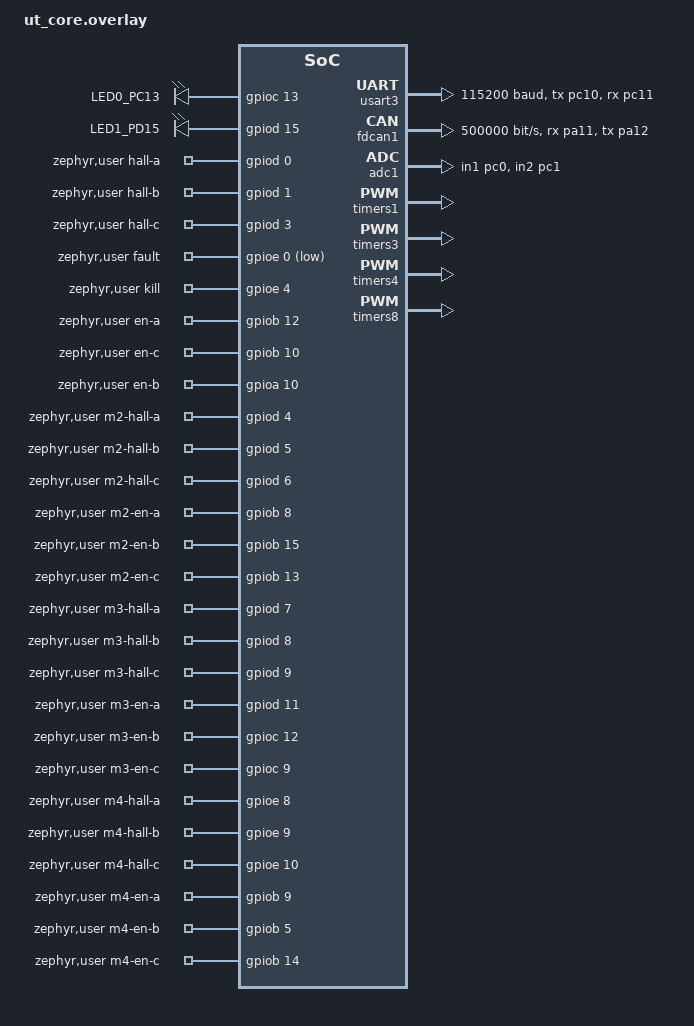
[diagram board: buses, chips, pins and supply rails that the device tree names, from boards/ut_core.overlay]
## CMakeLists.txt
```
cmake_minimum_required(VERSION 3.20.0)
find_package(Zephyr REQUIRED HINTS $ENV{ZEPHYR_BASE})
project(bldc_hall_l6234)

target_sources(app PRIVATE
    src/main.c
    src/motor_can.c
)

target_include_directories(app PRIVATE
    ${CMAKE_CURRENT_SOURCE_DIR}/../../common
)
```

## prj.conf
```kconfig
CONFIG_GPIO=y
CONFIG_PWM=y
CONFIG_CAN=y
CONFIG_CAN_STM32_FDCAN=y
CONFIG_CAN_FD_MODE=n

CONFIG_CONSOLE=y
CONFIG_SERIAL=y
CONFIG_UART_CONSOLE=y
CONFIG_PRINTK=y

CONFIG_LOG=n
CONFIG_SYS_CLOCK_TICKS_PER_SEC=10000
```

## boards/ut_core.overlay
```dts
#include <zephyr/dt-bindings/gpio/gpio.h>
#include <zephyr/dt-bindings/pinctrl/stm32-pinctrl.h>
#include <zephyr/dt-bindings/pwm/pwm.h>
//#include <zephyr/dt-bindings/clock/stm32u5_clock.h>

/ {
	pins {
		compatible = "gpio-leds";

		led0: led_0 {
			gpios = <&gpioc 13 GPIO_ACTIVE_HIGH>;
			label = "LED0_PC13";
		};

		led1: led_1 {
			gpios = <&gpiod 15 GPIO_ACTIVE_HIGH>;
			label = "LED1_PD15";
		};
	};

	aliases {
		/delete-property/ led2;
	};

	chosen {
		zephyr,console = &usart3;
	};

	zephyr,user {
		/* Motor 1 — Hall + enables */
		hall-a-gpios = <&gpiod 0 GPIO_ACTIVE_HIGH>;
		hall-b-gpios = <&gpiod 1 GPIO_ACTIVE_HIGH>;
		hall-c-gpios = <&gpiod 3 GPIO_ACTIVE_HIGH>;

		/* Driver safety/control */
		fault-gpios = <&gpioe 0 GPIO_ACTIVE_LOW>;
		/*
		 * KILL (PE4), active-high: GPIO_PULL_DOWN weakly idles the pin at GND
		 * when nothing external is driving it (de-asserted / open).
		 */
		kill-gpios = <&gpioe 4 (GPIO_ACTIVE_HIGH | GPIO_PULL_DOWN)>;

		en-a-gpios = <&gpiob 12 GPIO_ACTIVE_HIGH>;
		en-c-gpios = <&gpiob 10 GPIO_ACTIVE_HIGH>;
		en-b-gpios = <&gpioa 10 GPIO_ACTIVE_HIGH>;

		/*
		 * Motor 2 — TIM3: PWMA PB4 (CH1), PWMB PB1 (CH4), PWMC PB0 (CH3), AF2.
		 * Conflicts with board SPI2 (PB13/15) and SPI CS on PB4 — SPI2 disabled below.
		 */
		m2-hall-a-gpios = <&gpiod 4 GPIO_ACTIVE_HIGH>;
		m2-hall-b-gpios = <&gpiod 5 GPIO_ACTIVE_HIGH>;
		m2-hall-c-gpios = <&gpiod 6 GPIO_ACTIVE_HIGH>;
		m2-en-a-gpios = <&gpiob 8 GPIO_ACTIVE_HIGH>;
		m2-en-b-gpios = <&gpiob 15 GPIO_ACTIVE_HIGH>;
		m2-en-c-gpios = <&gpiob 13 GPIO_ACTIVE_HIGH>;

		/*
		 * Motor 3 — TIM8: PWMA PC8 (CH3), PWMB PC7 (CH2), PWMC PC6 (CH1), AF3.
		 */
		m3-hall-a-gpios = <&gpiod 7 GPIO_ACTIVE_HIGH>;
		m3-hall-b-gpios = <&gpiod 8 GPIO_ACTIVE_HIGH>;
		m3-hall-c-gpios = <&gpiod 9 GPIO_ACTIVE_HIGH>;
		m3-en-a-gpios = <&gpiod 11 GPIO_ACTIVE_HIGH>;
		m3-en-b-gpios = <&gpioc 12 GPIO_ACTIVE_HIGH>;
		m3-en-c-gpios = <&gpioc 9 GPIO_ACTIVE_HIGH>;

		/*
		 * Motor 4 — TIM1: PWMA PE13 (CH3), PWMB PE14 (CH4), PWMC PE11 (CH2), AF1.
		 * Halls on GPIOE (separate callback from PD halls).
		 *
		 * NOTE: STM32 EXTI line N connects to pin N on ONE port only.
		 * M3 uses PD8/PD9 (lines 8–9); M4 uses PE8/PE9 (same line numbers).
		 * With both enabled, EXTI8/EXTI9 routing conflicts — irq config may
		 * fail (see boot WARN). Rewire halls or disable M3 or M4 in this overlay.
		 */
		m4-hall-a-gpios = <&gpioe 8 GPIO_ACTIVE_HIGH>;
		m4-hall-b-gpios = <&gpioe 9 GPIO_ACTIVE_HIGH>;
		m4-hall-c-gpios = <&gpioe 10 GPIO_ACTIVE_HIGH>;
		m4-en-a-gpios = <&gpiob 9 GPIO_ACTIVE_HIGH>;
		m4-en-b-gpios = <&gpiob 5 GPIO_ACTIVE_HIGH>;
		m4-en-c-gpios = <&gpiob 14 GPIO_ACTIVE_HIGH>;
	};
};

&pinctrl {
	/* TIM3 motor 2 PWM */
	tim3_ch1_pb4: tim3_ch1_pb4 {
		pinmux = <STM32_PINMUX('B', 4, AF2)>;
	};

	tim3_ch4_pb1: tim3_ch4_pb1 {
		pinmux = <STM32_PINMUX('B', 1, AF2)>;
	};

	tim3_ch3_pb0: tim3_ch3_pb0 {
		pinmux = <STM32_PINMUX('B', 0, AF2)>;
	};

	tim4_ch1_pd12: tim4_ch1_pd12 {
		pinmux = <STM32_PINMUX('D', 12, AF2)>;
	};

	tim4_ch2_pd13: tim4_ch2_pd13 {
		pinmux = <STM32_PINMUX('D', 13, AF2)>;
	};

	tim4_ch3_pd14: tim4_ch3_pd14 {
		pinmux = <STM32_PINMUX('D', 14, AF2)>;
	};

	usart3_tx_pc10: usart3_tx_pc10 {
		pinmux = <STM32_PINMUX('C', 10, AF7)>;
	};

	usart3_rx_pc11: usart3_rx_pc11 {
		pinmux = <STM32_PINMUX('C', 11, AF7)>;
	};

	adc1_in1_pc0: adc1_in1_pc0 {
		pinmux = <STM32_PINMUX('C', 0, ANALOG)>;
	};

	adc1_in2_pc1: adc1_in2_pc1 {
		pinmux = <STM32_PINMUX('C', 1, ANALOG)>;
	};

	/* TIM8 motor 3 PWM — CH1 PC6, CH2 PC7, CH3 PC8 */
	tim8_ch1_pc6: tim8_ch1_pc6 {
		pinmux = <STM32_PINMUX('C', 6, AF3)>;
	};

	tim8_ch2_pc7: tim8_ch2_pc7 {
		pinmux = <STM32_PINMUX('C', 7, AF3)>;
	};

	tim8_ch3_pc8: tim8_ch3_pc8 {
		pinmux = <STM32_PINMUX('C', 8, AF3)>;
	};

	/* TIM1 motor 4 PWM — CH2 PE11, CH3 PE13, CH4 PE14 */
	tim1_ch2_pe11: tim1_ch2_pe11 {
		pinmux = <STM32_PINMUX('E', 11, AF1)>;
	};

	tim1_ch3_pe13: tim1_ch3_pe13 {
		pinmux = <STM32_PINMUX('E', 13, AF1)>;
	};

	tim1_ch4_pe14: tim1_ch4_pe14 {
		pinmux = <STM32_PINMUX('E', 14, AF1)>;
	};
};

&usart3 {
	status = "okay";
	current-speed = <115200>;
	pinctrl-0 = <&usart3_tx_pc10 &usart3_rx_pc11>;
	pinctrl-names = "default";
};

/*
 * CAN overlay override:
 * keep PA11/PA12 pins, but select PCLK1 as FDCAN kernel clock source.
 * This avoids PLL1_Q bring-up issues seen as:
 * "can_stm32fd: Could not turn on CAN clock (-134)"
 */
&fdcan1 {
	status = "okay";
	pinctrl-0 = <&fdcan1_rx_pa11 &fdcan1_tx_pa12>;
	pinctrl-names = "default";
	/* U5-specific APB1_2 bus encoding for FDCAN peripheral clock */
	clocks = <&rcc 0x0A0 0x00000200>,
	         <&rcc STM32_SRC_PLL1_Q FDCAN1_SEL(1)>;

	/* Optional but explicit */
	clk-divider = <1>;

	bitrate = <500000>;
	sample-point = <875>;

	/* REQUIRED for this Zephyr STM32U5 FDCAN driver */
	bosch,mram-cfg = <0x0 28 8 3 3 0 3 3>;
};

&gpioe {
	status = "okay";
	/*
	 * PE4 = KILL (see zephyr,user kill-gpios): internal pull-down is requested
	 * there so the line reads inactive (low) when un-driven.
	 */
};

&adc1 {
	status = "okay";
	pinctrl-0 = <&adc1_in1_pc0 &adc1_in2_pc1>;
	pinctrl-names = "default";
	st,adc-prescaler = <4>;
};

/*
 * Motor 2 pins share SPI2 (PB13 SCK, PB15 MOSI, PB4 CS). This sample disables SPI2.
 */
&spi2 {
	status = "disabled";
};

&timers1 {
	status = "okay";
	st,prescaler = <0>;

	pwm1: pwm {
		status = "okay";
		pinctrl-0 = <&tim1_ch3_pe13 &tim1_ch4_pe14 &tim1_ch2_pe11>;
		pinctrl-names = "default";
	};
};

&timers3 {
	status = "okay";
	st,prescaler = <0>;

	pwm3: pwm {
		status = "okay";
		pinctrl-0 = <&tim3_ch1_pb4 &tim3_ch4_pb1 &tim3_ch3_pb0>;
		pinctrl-names = "default";
	};
};

&timers4 {
	status = "okay";
	st,prescaler = <0>;

	pwm4: pwm {
		status = "okay";
		pinctrl-0 = <&tim4_ch1_pd12 &tim4_ch2_pd13 &tim4_ch3_pd14>;
		pinctrl-names = "default";
	};
};

&timers8 {
	status = "okay";
	st,prescaler = <0>;

	pwm8: pwm {
		status = "okay";
		pinctrl-0 = <&tim8_ch3_pc8 &tim8_ch2_pc7 &tim8_ch1_pc6>;
		pinctrl-names = "default";
	};
};
```

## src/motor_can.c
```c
#include "motor_can.h"
#include "can_wheel.h"

#include <zephyr/kernel.h>
#include <zephyr/device.h>
#include <zephyr/drivers/can.h>
#include <zephyr/sys/atomic.h>
#include <zephyr/sys/printk.h>

#include <string.h>

#define CAN_RX_STACK_SIZE 2048
#define CAN_TX_STACK_SIZE 1024
#define CAN_RX_THREAD_PRIO 2   /* above motor_ctrl (1)? no: motor_ctrl must
                                * preempt CAN. Keep RX just below it. */
#define CAN_TX_THREAD_PRIO 5   /* same tier as telemetry                    */
#define CAN_RX_MSGQ_DEPTH  4

#define WHEEL_TX_PERIOD_MS 50   /* 20 Hz measured-RPM telemetry              */

static const struct device *const can_dev = DEVICE_DT_GET(DT_NODELABEL(fdcan1));

CAN_MSGQ_DEFINE(wheel_cmd_q, CAN_RX_MSGQ_DEPTH);

static K_THREAD_STACK_DEFINE(can_rx_stack, CAN_RX_STACK_SIZE);
static K_THREAD_STACK_DEFINE(can_tx_stack, CAN_TX_STACK_SIZE);
static struct k_thread can_rx_thread_data;
static struct k_thread can_tx_thread_data;

static atomic_t rx_count = ATOMIC_INIT(0);
static atomic_t tx_count = ATOMIC_INIT(0);
static atomic_t last_rx_uptime_ms = ATOMIC_INIT(0);
static bool     ever_received = false;

static struct motor_can_cfg s_cfg;

static void can_rx_thread_entry(void *a, void *b, void *c)
{
	ARG_UNUSED(a);
	ARG_UNUSED(b);
	ARG_UNUSED(c);

	struct can_frame rx;

	while (1) {
		if (k_msgq_get(&wheel_cmd_q, &rx, K_FOREVER) != 0) {
			continue;
		}
		if (rx.dlc != 8) {
			continue;
		}

		struct wheel_rpm_frame f;
		memcpy(&f, rx.data, sizeof(f));

		float rpm[WHEEL_COUNT];
		wheel_rpm_unpack(&f, rpm);

		if (s_cfg.apply_setpoint != NULL) {
			for (unsigned i = 0; i < WHEEL_COUNT; i++) {
				s_cfg.apply_setpoint(i, rpm[i]);
			}
		}

		atomic_set(&last_rx_uptime_ms, (atomic_val_t)k_uptime_get());
		ever_received = true;
		atomic_inc(&rx_count);
	}
}

static void can_tx_thread_entry(void *a, void *b, void *c)
{
	ARG_UNUSED(a);
	ARG_UNUSED(b);
	ARG_UNUSED(c);

	int64_t next = k_uptime_get();

	while (1) {
		next += WHEEL_TX_PERIOD_MS;
		int64_t sleep_ms = next - k_uptime_get();
		if (sleep_ms < 1) {
			next = k_uptime_get();
			sleep_ms = 1;
		}
		k_sleep(K_MSEC(sleep_ms));

		if (!device_is_ready(can_dev)) {
			continue;
		}
		if (s_cfg.measure_rpm == NULL) {
			continue;
		}

		float rpm[WHEEL_COUNT];
		for (unsigned i = 0; i < WHEEL_COUNT; i++) {
			rpm[i] = s_cfg.measure_rpm(i);
		}

		struct wheel_rpm_frame f;
		wheel_rpm_pack(rpm, &f);

		struct can_frame tx = {0};
		tx.id    = WHEEL_TLM_ID;
		tx.dlc   = 8;
		tx.flags = CAN_FRAME_IDE;
		memcpy(tx.data, &f, sizeof(f));

		if (can_send(can_dev, &tx, K_NO_WAIT, NULL, NULL) == 0) {
			atomic_inc(&tx_count);
		}
	}
}

int motor_can_init(const struct motor_can_cfg *cfg)
{
	if (cfg == NULL || cfg->apply_setpoint == NULL || cfg->measure_rpm == NULL) {
		return -EINVAL;
	}
	s_cfg = *cfg;

	if (!device_is_ready(can_dev)) {
		printk("[CAN] fdcan1 not ready\n");
		return -ENODEV;
	}

	int ret = can_set_bitrate(can_dev, 500000);
	if (ret != 0) {
		printk("[CAN] set_bitrate err %d\n", ret);
		return ret;
	}

	ret = can_set_mode(can_dev, CAN_MODE_NORMAL);
	if (ret != 0) {
		printk("[CAN] set_mode err %d\n", ret);
		return ret;
	}

	ret = can_start(can_dev);
	if (ret != 0) {
		printk("[CAN] start err %d\n", ret);
		return ret;
	}

	const struct can_filter filt = {
		.id    = WHEEL_CMD_ID,
		.mask  = WHEEL_ID_MASK_29,
		.flags = CAN_FILTER_IDE,
	};

	ret = can_add_rx_filter_msgq(can_dev, &wheel_cmd_q, &filt);
	if (ret < 0) {
		printk("[CAN] add_rx_filter err %d\n", ret);
		return ret;
	}

	k_thread_create(&can_rx_thread_data, can_rx_stack,
			K_THREAD_STACK_SIZEOF(can_rx_stack),
			can_rx_thread_entry, NULL, NULL, NULL,
			CAN_RX_THREAD_PRIO, 0, K_NO_WAIT);
	k_thread_name_set(&can_rx_thread_data, "motor_can_rx");

	k_thread_create(&can_tx_thread_data, can_tx_stack,
			K_THREAD_STACK_SIZEOF(can_tx_stack),
			can_tx_thread_entry, NULL, NULL, NULL,
			CAN_TX_THREAD_PRIO, 0, K_NO_WAIT);
	k_thread_name_set(&can_tx_thread_data, "motor_can_tx");

	printk("[CAN] fdcan1 up @ 500 kbit/s\n");
	printk("[CAN]   rx filter WHEEL_CMD id=0x%08X mask=0x%08X\n",
	       (unsigned)filt.id, (unsigned)filt.mask);
	printk("[CAN]   tx WHEEL_TLM id=0x%08X every %u ms\n",
	       (unsigned)WHEEL_TLM_ID, (unsigned)WHEEL_TX_PERIOD_MS);
	return 0;
}

int64_t motor_can_rx_age_ms(void)
{
	if (!ever_received) {
		return INT64_MAX;
	}
	int64_t ts = (int64_t)atomic_get(&last_rx_uptime_ms);
	return k_uptime_get() - ts;
}

uint32_t motor_can_rx_count(void) { return (uint32_t)atomic_get(&rx_count); }
uint32_t motor_can_tx_count(void) { return (uint32_t)atomic_get(&tx_count); }
```

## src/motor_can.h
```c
#ifndef MOTOR_CAN_H
#define MOTOR_CAN_H

/*
 * Motor-board CAN layer (FDCAN1, 500 kbit/s, 29-bit IDs).
 *
 * RX: an internal thread drains wheel-cmd frames from ADCS and writes the
 *     4 per-wheel setpoints through motor_can_apply_rpm_setpoint() — a
 *     callback supplied by main.c so this TU does not know about rpm_ref_cmd.
 *     The timestamp of the most recent frame is tracked so the control
 *     thread can enforce a failsafe on RX timeout.
 *
 * TX: a periodic thread pulls measured RPM via the supplied getter and
 *     sends wheel-telemetry frames to ADCS at WHEEL_TX_PERIOD_MS.
 *
 * Units: signed mechanical RPM at the wheel rotor.
 */

#include <stdint.h>
#include <stdbool.h>

#ifdef __cplusplus
extern "C" {
#endif

typedef void (*motor_can_apply_fn)(unsigned wheel_idx, float rpm_signed);
typedef float (*motor_can_measure_fn)(unsigned wheel_idx);

struct motor_can_cfg {
	motor_can_apply_fn   apply_setpoint; /* called from RX thread, per wheel */
	motor_can_measure_fn measure_rpm;    /* called from TX thread, per wheel */
};

int  motor_can_init(const struct motor_can_cfg *cfg);

/*
 * Milliseconds since the last received wheel-cmd frame. Returns INT64_MAX
 * if no frame has ever been received.
 */
int64_t motor_can_rx_age_ms(void);

uint32_t motor_can_rx_count(void);
uint32_t motor_can_tx_count(void);

#ifdef __cplusplus
}
#endif

#endif /* MOTOR_CAN_H */
```

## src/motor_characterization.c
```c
#include <zephyr/kernel.h>
#include <zephyr/sys_clock.h>
#include <math.h>
#include <zephyr/device.h>
#include <zephyr/devicetree.h>
#include <zephyr/drivers/gpio.h>
#include <zephyr/drivers/pwm.h>
#include <zephyr/sys/printk.h>

#define USER_NODE DT_PATH(zephyr_user)

/*
 * Open-loop duty sweep for one selected motor: logs duty_pct,rpm on UART.
 * Build with -DBLDC_MOTOR_CHARACTERIZATION=y (see app CMakeLists.txt).
 *
 * Board overlay (e.g. ut_core.overlay) defines M1..M4 on zephyr,user.
 * Flip motor_enable[] to test one motor; all four stay in the build.
 */
#define NMOTORS 4U
#define M3_IDX  2U
#define M4_IDX  3U
/* Characterization target motor index: M1=0, M2=1, M3=2, M4=3. */
#define CHAR_MOTOR_IDX 1U

/* Per-motor: false = PWM/enables off (bench one motor at a time). */
static const bool motor_enable[] = {
	false,  /* M1 — duty sweep */
	true, /* M2 */
	false, /* M3 */
	false, /* M4 */
};

BUILD_ASSERT(ARRAY_SIZE(motor_enable) == NMOTORS, "motor_enable vs NMOTORS");
BUILD_ASSERT(CHAR_MOTOR_IDX < NMOTORS, "CHAR_MOTOR_IDX out of range");

static inline bool motor_is_active(unsigned mi)
{
	return (mi < NMOTORS) && motor_enable[mi];
}

#define PWM_PERIOD_NS PWM_HZ(20000)

/* 8 magnetic poles → 4 pole pairs: mech_rpm = (ω_elec / 2π) * 60 / pole_pairs */
#define M1_MAGNETIC_POLES 8U
#define POLE_PAIRS (M1_MAGNETIC_POLES / 2U)

BUILD_ASSERT((M1_MAGNETIC_POLES % 2U) == 0U && M1_MAGNETIC_POLES >= 2U,
	     "M1_MAGNETIC_POLES must be an even pole count");

/*
 * If hall-derived RPM reads backward vs how you define “forward”, flip this
 * between -1.f and +1.f.
 */
#define M1_RPM_MEAS_SIGN (+1.f)

/* ADCS wheel envelope (rpm, mechanical) — clamps telemetry and dt_max. */
#define WHEEL_RPM_ABS_MAX 10000

#define M1_DUTY_MAX_PCT 95U

/* UART CSV sweep 0.0 .. 95.0 % in 0.1 % steps (~951 lines). */
#define CHAR_SETTLE_MS   400U
#define CHAR_SAMPLE_MS   400U
#define M1_OPEN_LOOP_REVERSE  0 /* 1 = reverse commutation table */

/* Hall sequence for +rpm (tune order if your wiring differs). */
static const uint8_t hall_ring_fwd[6] = {1, 5, 4, 6, 2, 3};

/* Consecutive invalid hall samples (0/7) before latching m_run=false. */
#define HALL_INVALID_DEBOUNCE 8U

/* Motor 1 — TIM4 CH1..3 → phases A,B,C */
#define M1_CH_A 1U
#define M1_CH_B 2U
#define M1_CH_C 3U

/* Motor 2 — TIM3: A CH1, B CH4, C CH3 */
#define M2_CH_A 1U
#define M2_CH_B 4U
#define M2_CH_C 3U

/* Motor 3 — TIM8: A CH3, B CH2, C CH1 */
#define M3_CH_A 3U
#define M3_CH_B 2U
#define M3_CH_C 1U

/* Motor 4 — TIM1: A CH3, B CH4, C CH2 */
#define M4_CH_A 3U
#define M4_CH_B 4U
#define M4_CH_C 2U

static const struct gpio_dt_spec hall_a   = GPIO_DT_SPEC_GET(USER_NODE, hall_a_gpios);
static const struct gpio_dt_spec hall_b   = GPIO_DT_SPEC_GET(USER_NODE, hall_b_gpios);
static const struct gpio_dt_spec hall_c   = GPIO_DT_SPEC_GET(USER_NODE, hall_c_gpios);
static const struct gpio_dt_spec fault_in = GPIO_DT_SPEC_GET(USER_NODE, fault_gpios);
static const struct gpio_dt_spec kill_in  = GPIO_DT_SPEC_GET(USER_NODE, kill_gpios);
static const struct gpio_dt_spec en_a     = GPIO_DT_SPEC_GET(USER_NODE, en_a_gpios);
static const struct gpio_dt_spec en_b     = GPIO_DT_SPEC_GET(USER_NODE, en_b_gpios);
static const struct gpio_dt_spec en_c     = GPIO_DT_SPEC_GET(USER_NODE, en_c_gpios);

static const struct gpio_dt_spec m2_hall_a = GPIO_DT_SPEC_GET(USER_NODE, m2_hall_a_gpios);
static const struct gpio_dt_spec m2_hall_b = GPIO_DT_SPEC_GET(USER_NODE, m2_hall_b_gpios);
static const struct gpio_dt_spec m2_hall_c = GPIO_DT_SPEC_GET(USER_NODE, m2_hall_c_gpios);
static const struct gpio_dt_spec m2_en_a   = GPIO_DT_SPEC_GET(USER_NODE, m2_en_a_gpios);
static const struct gpio_dt_spec m2_en_b   = GPIO_DT_SPEC_GET(USER_NODE, m2_en_b_gpios);
static const struct gpio_dt_spec m2_en_c   = GPIO_DT_SPEC_GET(USER_NODE, m2_en_c_gpios);

static const struct gpio_dt_spec m3_hall_a = GPIO_DT_SPEC_GET(USER_NODE, m3_hall_a_gpios);
static const struct gpio_dt_spec m3_hall_b = GPIO_DT_SPEC_GET(USER_NODE, m3_hall_b_gpios);
static const struct gpio_dt_spec m3_hall_c = GPIO_DT_SPEC_GET(USER_NODE, m3_hall_c_gpios);
static const struct gpio_dt_spec m3_en_a   = GPIO_DT_SPEC_GET(USER_NODE, m3_en_a_gpios);
static const struct gpio_dt_spec m3_en_b   = GPIO_DT_SPEC_GET(USER_NODE, m3_en_b_gpios);
static const struct gpio_dt_spec m3_en_c   = GPIO_DT_SPEC_GET(USER_NODE, m3_en_c_gpios);

static const struct gpio_dt_spec m4_hall_a = GPIO_DT_SPEC_GET(USER_NODE, m4_hall_a_gpios);
static const struct gpio_dt_spec m4_hall_b = GPIO_DT_SPEC_GET(USER_NODE, m4_hall_b_gpios);
static const struct gpio_dt_spec m4_hall_c = GPIO_DT_SPEC_GET(USER_NODE, m4_hall_c_gpios);
static const struct gpio_dt_spec m4_en_a   = GPIO_DT_SPEC_GET(USER_NODE, m4_en_a_gpios);
static const struct gpio_dt_spec m4_en_b   = GPIO_DT_SPEC_GET(USER_NODE, m4_en_b_gpios);
static const struct gpio_dt_spec m4_en_c   = GPIO_DT_SPEC_GET(USER_NODE, m4_en_c_gpios);

typedef struct {
	const struct device *pwm;
	uint32_t tim_ch[3];
	const struct gpio_dt_spec *hall[3];
	const struct gpio_dt_spec *en[3];
	bool halls_on_gpiod;
} motor_desc_t;

static const uint32_t m1_ch[3] = { M1_CH_A, M1_CH_B, M1_CH_C };
static const struct gpio_dt_spec *const m1_hall[3] = { &hall_a, &hall_b, &hall_c };
static const struct gpio_dt_spec *const m1_en[3]  = { &en_a, &en_b, &en_c };

static const uint32_t m2_ch[3] = { M2_CH_A, M2_CH_B, M2_CH_C };
static const struct gpio_dt_spec *const m2_hall[3] = { &m2_hall_a, &m2_hall_b, &m2_hall_c };
static const struct gpio_dt_spec *const m2_en[3]  = { &m2_en_a, &m2_en_b, &m2_en_c };

static const uint32_t m3_ch[3] = { M3_CH_A, M3_CH_B, M3_CH_C };
static const struct gpio_dt_spec *const m3_hall[3] = { &m3_hall_a, &m3_hall_b, &m3_hall_c };
static const struct gpio_dt_spec *const m3_en[3]  = { &m3_en_a, &m3_en_b, &m3_en_c };

static const uint32_t m4_ch[3] = { M4_CH_A, M4_CH_B, M4_CH_C };
static const struct gpio_dt_spec *const m4_hall[3] = { &m4_hall_a, &m4_hall_b, &m4_hall_c };
static const struct gpio_dt_spec *const m4_en[3]  = { &m4_en_a, &m4_en_b, &m4_en_c };

static const motor_desc_t motor_desc[] = {
	{
		.pwm = DEVICE_DT_GET(DT_NODELABEL(pwm4)),
		.tim_ch = { m1_ch[0], m1_ch[1], m1_ch[2] },
		.hall = { m1_hall[0], m1_hall[1], m1_hall[2] },
		.en = { m1_en[0], m1_en[1], m1_en[2] },
		.halls_on_gpiod = true,
	},
	{
		.pwm = DEVICE_DT_GET(DT_NODELABEL(pwm3)),
		.tim_ch = { m2_ch[0], m2_ch[1], m2_ch[2] },
		.hall = { m2_hall[0], m2_hall[1], m2_hall[2] },
		.en = { m2_en[0], m2_en[1], m2_en[2] },
		.halls_on_gpiod = true,
	},
	{
		.pwm = DEVICE_DT_GET(DT_NODELABEL(pwm8)),
		.tim_ch = { m3_ch[0], m3_ch[1], m3_ch[2] },
		.hall = { m3_hall[0], m3_hall[1], m3_hall[2] },
		.en = { m3_en[0], m3_en[1], m3_en[2] },
		.halls_on_gpiod = true,
	},
	{
		.pwm = DEVICE_DT_GET(DT_NODELABEL(pwm1)),
		.tim_ch = { m4_ch[0], m4_ch[1], m4_ch[2] },
		.hall = { m4_hall[0], m4_hall[1], m4_hall[2] },
		.en = { m4_en[0], m4_en[1], m4_en[2] },
		.halls_on_gpiod = false,
	},
};

BUILD_ASSERT(ARRAY_SIZE(motor_desc) == NMOTORS, "motor_desc count");

struct comm_step {
	int8_t hi;
	int8_t lo;
};

static const struct comm_step fwd_table[8] = {
	[0] = {-1, -1},
	[1] = {0, 2},
	[2] = {1, 0},
	[3] = {1, 2},
	[4] = {2, 1},
	[5] = {0, 1},
	[6] = {2, 0},
	[7] = {-1, -1},
};

/* Reverse = swap hi/lo vs forward for each valid hall. */
static const struct comm_step rev_table[8] = {
	[0] = {-1, -1},
	[1] = {2, 0},
	[2] = {0, 1},
	[3] = {2, 1},
	[4] = {1, 2},
	[5] = {1, 0},
	[6] = {0, 2},
	[7] = {-1, -1},
};

/* 0..100 % of PWM period (clamp active phase to M1_DUTY_MAX_PCT on M1 path). */
static volatile float duty_pct[NMOTORS];
static volatile uint8_t  m_hall[NMOTORS];
static volatile uint32_t m_trans[NMOTORS];
/* True while hall code is 1..6; false on 0/7 — that motor is not driven. */
static volatile bool m_run[NMOTORS];
static volatile uint8_t hall_inv_streak[NMOTORS];

static volatile bool m1_use_rev;
/* Hall edge timing for M1 (ISR writes, control loop reads). */
static uint32_t m1_cyc_hz;
static uint32_t m1_hall_dt_min_cyc;
static volatile uint32_t m1_prev_edge_cyc;
static volatile bool m1_have_prev_edge;
static volatile uint32_t m1_last_period_cyc;
static volatile int8_t m1_last_period_sign;
static volatile uint32_t m1_last_edge_cyc;

static struct gpio_callback hall_cb_gpiod;
static struct gpio_callback hall_cb_gpioe;

static void pwm_all_off(const struct device *pwm, const uint32_t tim_ch[3],
			const struct gpio_dt_spec *const pen[3])
{
	for (int i = 0; i < 3; i++) {
		pwm_set(pwm, tim_ch[i], PWM_PERIOD_NS, 0, PWM_POLARITY_NORMAL);
		gpio_pin_set_dt(pen[i], 0);
	}
}

static bool apply_sixstep(const struct device *pwm, const uint32_t tim_ch[3],
			  const struct gpio_dt_spec *const pen[3],
			  const struct comm_step *tbl, uint8_t hall, unsigned mi)
{
	const struct comm_step *s = &tbl[hall & 0x07];

	if (s->hi < 0) {
		pwm_all_off(pwm, tim_ch, pen);
		return true;
	}

	float d = duty_pct[mi];

	if (d < 0.f) {
		d = 0.f;
	}
	if (mi == CHAR_MOTOR_IDX && d > (float)M1_DUTY_MAX_PCT) {
		d = (float)M1_DUTY_MAX_PCT;
	} else if (mi != CHAR_MOTOR_IDX && d > 100.f) {
		d = 100.f;
	}

	float pulse_f = ((float)PWM_PERIOD_NS * d) / 100.0f;
	uint32_t pulse = (uint32_t)(pulse_f + 0.5f);

	if (pulse > PWM_PERIOD_NS) {
		pulse = PWM_PERIOD_NS;
	}

	for (int i = 0; i < 3; i++) {
		if (i == s->hi) {
			pwm_set(pwm, tim_ch[i], PWM_PERIOD_NS, pulse,
				PWM_POLARITY_NORMAL);
			gpio_pin_set_dt(pen[i], 1);
		} else if (i == s->lo) {
			pwm_set(pwm, tim_ch[i], PWM_PERIOD_NS, 0,
				PWM_POLARITY_NORMAL);
			gpio_pin_set_dt(pen[i], 1);
		} else {
			pwm_set(pwm, tim_ch[i], PWM_PERIOD_NS, 0,
				PWM_POLARITY_NORMAL);
			gpio_pin_set_dt(pen[i], 0);
		}
	}
	return false;
}

static uint8_t read_hall_code(const struct gpio_dt_spec *const h[3])
{
	int a = gpio_pin_get_dt(h[0]) > 0 ? 1 : 0;
	int b = gpio_pin_get_dt(h[1]) > 0 ? 1 : 0;
	int c = gpio_pin_get_dt(h[2]) > 0 ? 1 : 0;

	return (uint8_t)(a | (b << 1) | (c << 2));
}

static bool hall_code_valid(uint8_t h)
{
	return (h != 0U) && (h != 7U);
}

/* +1 one step forward in hall_ring_fwd, -1 backward, 0 ambiguous/jump. */
static int8_t hall_transition_dir(uint8_t from, uint8_t to)
{
	int from_idx = -1;
	int to_idx = -1;

	if (!hall_code_valid(from) || !hall_code_valid(to)) {
		return 0;
	}

	for (int i = 0; i < 6; i++) {
		if (hall_ring_fwd[i] == from) {
			from_idx = i;
		}
		if (hall_ring_fwd[i] == to) {
			to_idx = i;
		}
	}
	if (from_idx < 0 || to_idx < 0) {
		return 0;
	}

	int diff = (to_idx - from_idx + 6) % 6;

	if (diff == 1) {
		return 1;
	}
	if (diff == 5) {
		return -1;
	}
	return 0;
}

static void refresh_outputs(void)
{
	for (unsigned mi = 0; mi < NMOTORS; mi++) {
		const motor_desc_t *m = &motor_desc[mi];
		float d = duty_pct[mi];

		if (!motor_is_active(mi)) {
			pwm_all_off(m->pwm, m->tim_ch, m->en);
			continue;
		}

		uint8_t h_live = read_hall_code(m->hall);
		/*
		 * When running, prefer the last ISR-step hall if it still matches GPIO
		 * (avoids sampling dither vs. edge-locked commutation).
		 */
		uint8_t h = h_live;

		if (m_run[mi] && hall_code_valid(m_hall[mi]) && (h_live == m_hall[mi])) {
			h = m_hall[mi];
		}

		/* Live halls: do not re-apply stale m_hall while inputs read 0/7. */
		if (!hall_code_valid(h_live) || !m_run[mi]) {
			pwm_all_off(m->pwm, m->tim_ch, m->en);
			continue;
		}

		if (d <= 0.f) {
			pwm_all_off(m->pwm, m->tim_ch, m->en);
			continue;
		}

		const struct comm_step *tbl =
			(mi == 0U) ? (m1_use_rev ? rev_table : fwd_table) : fwd_table;

		(void)apply_sixstep(m->pwm, m->tim_ch, m->en, tbl, h, mi);
	}
}

static void process_motor(unsigned mi)
{
	if (!motor_is_active(mi)) {
		return;
	}

	const motor_desc_t *m = &motor_desc[mi];
	uint8_t h = read_hall_code(m->hall);

	if (!hall_code_valid(h)) {
		pwm_all_off(m->pwm, m->tim_ch, m->en);
		if (m_run[mi]) {
			uint8_t st = hall_inv_streak[mi] + 1U;

			if (st >= HALL_INVALID_DEBOUNCE) {
				m_run[mi] = false;
				if (mi == 0U) {
					m1_have_prev_edge = false;
				}
				m_hall[mi] = h;
				hall_inv_streak[mi] = 0U;
			} else {
				hall_inv_streak[mi] = st;
			}
		} else {
			m_hall[mi] = h;
			hall_inv_streak[mi] = 0U;
		}
		return;
	}

	hall_inv_streak[mi] = 0U;

	if ((h == m_hall[mi]) && m_run[mi]) {
		return;
	}

	if (mi == 0U && m_run[mi] && hall_code_valid(m_hall[mi])) {
		int8_t dir = hall_transition_dir(m_hall[mi], h);
		/*
		 * If hall_ring_fwd order does not match the sensor's Gray walk, dir==0
		 * on real steps — timing must still run or dt spans multiple 60° steps
		 * and edge-RPM reads ~1/P too low.
		 */
		int8_t dir_eff = dir;

		if (dir == 0 && hall_code_valid(h) && h != m_hall[mi]) {
			dir_eff = (m1_last_period_sign != 0) ? m1_last_period_sign : 1;
		}

		if (dir_eff != 0 && m1_cyc_hz > 0U) {
			uint32_t c = k_cycle_get_32();
			/*
			 * Three hall lines often produce multiple IRQs within tens of µs for
			 * one 60° step. dt_min must exceed that bunching but stay below one
			 * real step at WHEEL_RPM_ABS_MAX (computed at boot in main).
			 */
			uint32_t dt_min =
				m1_hall_dt_min_cyc > 0U ? m1_hall_dt_min_cyc : (m1_cyc_hz / 8000U);
			uint32_t dt_max = m1_cyc_hz; /* >~1 s between edges → ignore */

			if (m1_have_prev_edge) {
				uint32_t dt = c - m1_prev_edge_cyc;

				if (dt >= dt_min && dt <= dt_max) {
					m1_last_period_cyc = dt;
					m1_last_period_sign = dir_eff;
					m1_prev_edge_cyc = c;
				} else if (dt > dt_max) {
					/* Baseline too old (stall); restart from this edge. */
					m1_prev_edge_cyc = c;
				}
				/*
				 * If dt < dt_min: GPIO bunching on one 60° step — do NOT move
				 * m1_prev_edge_cyc, or dt spans multiple steps and edge-RPM lies.
				 */
			} else {
				m1_prev_edge_cyc = c;
				m1_have_prev_edge = true;
			}
			m1_last_edge_cyc = c;
		}
	}

	m_hall[mi] = h;
	m_run[mi] = true;
	m_trans[mi]++;

	if (duty_pct[mi] <= 0.f) {
		pwm_all_off(m->pwm, m->tim_ch, m->en);
	} else {
		const struct comm_step *tbl =
			(mi == 0U) ? (m1_use_rev ? rev_table : fwd_table) : fwd_table;

		(void)apply_sixstep(m->pwm, m->tim_ch, m->en, tbl, h, mi);
	}
}

static void hall_isr_gpiod(const struct device *dev, struct gpio_callback *cb,
			   uint32_t pins)
{
	ARG_UNUSED(dev);
	ARG_UNUSED(cb);
	ARG_UNUSED(pins);

	for (unsigned mi = 0; mi < NMOTORS; mi++) {
		if (!motor_is_active(mi)) {
			continue;
		}
		if (motor_desc[mi].halls_on_gpiod) {
			process_motor(mi);
		}
	}
}

static void hall_isr_gpioe(const struct device *dev, struct gpio_callback *cb,
			   uint32_t pins)
{
	ARG_UNUSED(dev);
	ARG_UNUSED(cb);
	ARG_UNUSED(pins);

	for (unsigned mi = 0; mi < NMOTORS; mi++) {
		if (!motor_is_active(mi)) {
			continue;
		}
		if (!motor_desc[mi].halls_on_gpiod) {
			process_motor(mi);
		}
	}
}

/*
 * M3 halls PD8/PD9 and M4 halls PE8/PE9 share STM32 EXTI8 / EXTI9 mux (one port
 * per line). With both motors active, edge IRQs cannot be correct for both;
 * polling keeps commutation aligned with the rotor (no duty reduction).
 */
#ifndef HALL_M3M4_POLL_INTERVAL_US
#define HALL_M3M4_POLL_INTERVAL_US 80U
#endif

static void hall_m3m4_poll_work(struct k_work *work)
{
	ARG_UNUSED(work);

	if (!motor_is_active(M3_IDX) || !motor_is_active(M4_IDX)) {
		return;
	}

	process_motor(M3_IDX);
	process_motor(M4_IDX);
}

static K_WORK_DEFINE(hall_m3m4_work, hall_m3m4_poll_work);

static void hall_m3m4_poll_timer_cb(struct k_timer *t)
{
	ARG_UNUSED(t);
	(void)k_work_submit(&hall_m3m4_work);
}

K_TIMER_DEFINE(hall_m3m4_timer, hall_m3m4_poll_timer_cb, NULL);

static float clampf(float x, float lo, float hi)
{
	if (x < lo) {
		return lo;
	}
	if (x > hi) {
		return hi;
	}
	return x;
}

static float m1_rpm_from_transition_window(uint32_t trans_now, uint32_t trans_prev,
					    uint32_t dt_ms)
{
	if (dt_ms == 0U) {
		return 0.f;
	}

	const uint32_t dtrans = trans_now - trans_prev;
	const float mag =
		(float)dtrans * 1000.f * 10.f /
		((float)POLE_PAIRS * (float)dt_ms);
	const float meas_sign =
		M1_RPM_MEAS_SIGN * (float)m1_last_period_sign;
	const float cmd_sign = m1_use_rev ? -1.f : 1.f;
	const float sgn = (meas_sign != 0.f) ? meas_sign : cmd_sign;

	return copysignf(mag, sgn);
}

static void all_motors_off(void)
{
	for (unsigned mi = 0; mi < NMOTORS; mi++) {
		const motor_desc_t *m = &motor_desc[mi];

		pwm_all_off(m->pwm, m->tim_ch, m->en);
	}
}

int main(void)
{
	for (unsigned mi = 0; mi < NMOTORS; mi++) {
		if (!device_is_ready(motor_desc[mi].pwm)) {
			printk("ERR: PWM M%u not ready\n", mi + 1U);
			return -1;
		}
	}

	for (unsigned mi = 0; mi < NMOTORS; mi++) {
		const motor_desc_t *m = &motor_desc[mi];

		for (int j = 0; j < 3; j++) {
			if (!gpio_is_ready_dt(m->hall[j])) {
				printk("ERR: M%u hall GPIO not ready\n", mi + 1U);
				return -1;
			}
			if (!gpio_is_ready_dt(m->en[j])) {
				printk("ERR: M%u enable GPIO not ready\n", mi + 1U);
				return -1;
			}
		}
	}

	if (!gpio_is_ready_dt(&fault_in) || !gpio_is_ready_dt(&kill_in)) {
		printk("ERR: Fault/Kill GPIO not ready\n");
		return -1;
	}

	for (unsigned mi = 0; mi < NMOTORS; mi++) {
		const motor_desc_t *m = &motor_desc[mi];

		for (int j = 0; j < 3; j++) {
			gpio_pin_configure_dt(m->hall[j], GPIO_INPUT);
			gpio_pin_configure_dt(m->en[j], GPIO_OUTPUT_INACTIVE);
		}
	}

	gpio_pin_configure_dt(&fault_in, GPIO_INPUT);
	gpio_pin_configure_dt(&kill_in, GPIO_INPUT);

	all_motors_off();

	m1_cyc_hz = sys_clock_hw_cycles_per_sec();

	/* Hall edges/sec at max rated mech rpm → cycles per 60° step; dt_min ~30% of that. */
	{
		uint32_t edges_ps =
			(6U * POLE_PAIRS * (uint32_t)WHEEL_RPM_ABS_MAX) / 60U;

		if (edges_ps > 0U && m1_cyc_hz > edges_ps) {
			uint32_t cyc_per_step = m1_cyc_hz / edges_ps;

			m1_hall_dt_min_cyc = (cyc_per_step * 3U) / 10U;
		} else {
			m1_hall_dt_min_cyc = 4000U;
		}
		if (m1_hall_dt_min_cyc < 2500U) {
			m1_hall_dt_min_cyc = 2500U;
		}
	}

	m1_have_prev_edge = false;
	m1_use_rev = (M1_OPEN_LOOP_REVERSE != 0);
	for (unsigned mi = 0; mi < NMOTORS; mi++) {
		duty_pct[mi] = 0.f;
	}

	printk("\n============================================\n");
	printk("  BLDC - motor characterization  (%u motors)\n", NMOTORS);
	for (unsigned mi = 0; mi < NMOTORS; mi++) {
		printk("    M%u: %s\n", mi + 1U,
		       motor_enable[mi] ? "enabled" : "disabled");
	}
	printk("============================================\n");
	printk("Clock: 48 MHz (PLL)   PWM: 20 kHz\n");
	printk("Wheel |omega| max: %u rpm (mech)\n", WHEEL_RPM_ABS_MAX);
	printk("M%u duty sweep 0.0..%u%% step 0.1%%  settle %u ms  sample %u ms  reverse=%u\n",
	       (unsigned)(CHAR_MOTOR_IDX + 1U), (unsigned)M1_DUTY_MAX_PCT,
	       (unsigned)CHAR_SETTLE_MS, (unsigned)CHAR_SAMPLE_MS,
	       (unsigned)M1_OPEN_LOOP_REVERSE);
	printk("M1 hall dt_min: %u cycles (reject sub-step GPIO IRQ bunching)\n\n",
	       m1_hall_dt_min_cyc);

	for (unsigned mi = 0; mi < NMOTORS; mi++) {
		uint8_t h = read_hall_code(motor_desc[mi].hall);

		m_hall[mi]  = h;
		m_trans[mi] = 0;
		hall_inv_streak[mi] = 0U;

		if (!motor_is_active(mi)) {
			m_run[mi] = false;
			printk("M%u hall: %u (inactive)\n", mi + 1U, h);
			continue;
		}

		if (hall_code_valid(h)) {
			m_run[mi] = true;
			printk("M%u hall: %u (running)\n", mi + 1U, h);
		} else {
			m_run[mi] = false;
			printk("M%u hall: %u — invalid, motor held off\n", mi + 1U, h);
		}
	}

	printk("Fault: %d  Kill: %d\n",
	       gpio_pin_get_dt(&fault_in), gpio_pin_get_dt(&kill_in));
	if (gpio_pin_get_dt(&kill_in) != 0) {
		printk("ABORT: KILL active\n");
		return -1;
	}

	for (unsigned mi = 0; mi < NMOTORS; mi++) {
		const motor_desc_t *m = &motor_desc[mi];

		for (int j = 0; j < 3; j++) {
			gpio_flags_t irq_flags = motor_is_active(mi) ? GPIO_INT_EDGE_BOTH
								       : GPIO_INT_MODE_DISABLED;
			int err = gpio_pin_interrupt_configure_dt(m->hall[j], irq_flags);

			if (err != 0) {
				printk("WARN: M%u hall pin %d irq cfg err %d\n",
				       mi + 1U, j, err);
			}
		}
	}

	uint32_t mask_d = 0U;
	const struct device *port_d = NULL;

	for (unsigned mi = 0; mi < NMOTORS; mi++) {
		const motor_desc_t *m = &motor_desc[mi];

		if (!motor_is_active(mi) || !m->halls_on_gpiod) {
			continue;
		}
		if (port_d == NULL) {
			port_d = m->hall[0]->port;
		} else if (m->hall[0]->port != port_d) {
			printk("ERR: active GPIOD hall motors must share one GPIO port\n");
			return -1;
		}
		for (int j = 0; j < 3; j++) {
			mask_d |= BIT(m->hall[j]->pin);
		}
	}

	if (mask_d != 0U) {
		gpio_init_callback(&hall_cb_gpiod, hall_isr_gpiod, mask_d);
		gpio_add_callback(port_d, &hall_cb_gpiod);
	}

	uint32_t mask_e = 0U;
	const struct device *port_e = NULL;

	for (unsigned mi = 0; mi < NMOTORS; mi++) {
		const motor_desc_t *m = &motor_desc[mi];

		if (!motor_is_active(mi) || m->halls_on_gpiod) {
			continue;
		}
		if (port_e == NULL) {
			port_e = m->hall[0]->port;
		} else if (m->hall[0]->port != port_e) {
			printk("ERR: active non-GPIOD hall motors must share one GPIO port\n");
			return -1;
		}
		for (int j = 0; j < 3; j++) {
			mask_e |= BIT(m->hall[j]->pin);
		}
	}
	if (mask_e != 0U) {
		gpio_init_callback(&hall_cb_gpioe, hall_isr_gpioe, mask_e);
		gpio_add_callback(port_e, &hall_cb_gpioe);
	}

	if (motor_is_active(M3_IDX) && motor_is_active(M4_IDX)) {
		printk("\nNOTE: M3 (PD8/PD9) and M4 (PE8/PE9) share STM32 EXTI8/EXTI9 — "
		       "one EXTI mux cannot serve both; %u us hall poll keeps M3+M4 "
		       "in sync (fix hardware by moving halls off conflicting lines).\n\n",
		       (unsigned)HALL_M3M4_POLL_INTERVAL_US);
		k_timer_start(&hall_m3m4_timer,
			      K_USEC(HALL_M3M4_POLL_INTERVAL_US),
			      K_USEC(HALL_M3M4_POLL_INTERVAL_US));
	}

	refresh_outputs();

	printk("\nCSV (duty_pct,rpm_abs) — lines starting with '#' are comments\n\n");

	printk("# begin duty_pct,rpm_abs\n");

	for (int d10 = 0; d10 <= 950; d10++) {
		const float duty = (float)d10 / 10.f;

		if (gpio_pin_get_dt(&kill_in) != 0) {
			printk("# abort kill\n");
			break;
		}

		duty_pct[CHAR_MOTOR_IDX] = clampf(duty, 0.f, (float)M1_DUTY_MAX_PCT);
		refresh_outputs();

		for (int w = 0; w < 5; w++) {
			if (motor_is_active(CHAR_MOTOR_IDX) && !m_run[CHAR_MOTOR_IDX]) {
				process_motor(CHAR_MOTOR_IDX);
			}
			k_msleep(2);
		}

		k_msleep(CHAR_SETTLE_MS);

		const uint32_t tr_a = m_trans[CHAR_MOTOR_IDX];

		k_msleep(CHAR_SAMPLE_MS);

		const uint32_t tr_b = m_trans[CHAR_MOTOR_IDX];
		const float rpm_win =
			fabsf(m1_rpm_from_transition_window(tr_b, tr_a, CHAR_SAMPLE_MS));

		const int duty_i = (int)lrintf(duty * 1000.f);
		const int rpm_i = (int)lrintf(rpm_win);

		printk("%d.%03u,%d\n",
		       duty_i / 1000,
		       (unsigned)(duty_i % 1000),
		       rpm_i);

		for (unsigned mi = 0; mi < NMOTORS; mi++) {
			if (motor_is_active(mi) && !m_run[mi]) {
				process_motor(mi);
			}
		}

		k_msleep(1);
	}

	printk("# end duty_pct,rpm_abs\n");

	duty_pct[CHAR_MOTOR_IDX] = 0.f;
	refresh_outputs();
	all_motors_off();

	while (1) {
		if (gpio_pin_get_dt(&kill_in) != 0) {
			break;
		}

		k_msleep(500);
	}

	for (unsigned mi = 0; mi < NMOTORS; mi++) {
		const motor_desc_t *m = &motor_desc[mi];

		for (int j = 0; j < 3; j++) {
			gpio_pin_interrupt_configure_dt(m->hall[j],
							GPIO_INT_DISABLE);
		}
	}

	k_timer_stop(&hall_m3m4_timer);

	all_motors_off();
	printk("\nStopped.");
	for (unsigned mi = 0; mi < NMOTORS; mi++) {
		printk("  M%u trans=%u", mi + 1U, (unsigned)m_trans[mi]);
	}
	printk("\n");

	return 0;
}
```
